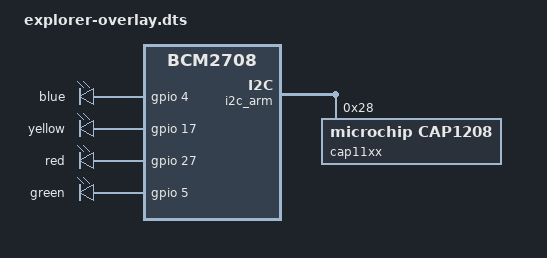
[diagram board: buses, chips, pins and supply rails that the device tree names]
/dts-v1/;
/plugin/;

/ {
	compatible = "brcm,bcm2708";

	fragment@0 {
		target-path = "/";
		__overlay__ {
			explorerleds {
				compatible = "gpio-leds";

				blue {
					label = "blue";
					gpios = <&gpio 4 0>;
					linux,default-trigger = "none";
				};
				yellow {
					label = "yellow";
					gpios = <&gpio 17 0>;
					linux,default-trigger = "none";
				};
				green {
					label = "red";
					gpios = <&gpio 27 0>;
					linux,default-trigger = "none";
				};
				red {
					label = "green";
					gpios = <&gpio 5 0>;
					linux,default-trigger = "none";
				};
			};
		};
	};
	
	fragment@1 {
		target = <&i2c_arm>;
		__overlay__ {
			#address-cells = <1>;
			#size-cells = <0>;
			status = "okay";

			cap11xx: cap1208@28 {
				compatible = "microchip,cap1208";
				reg = <0x28>;
				status = "okay";
				linux,keycodes = <6 7 8 9 2 3 4 5>;
			};
		};
	};

	fragment@2 {
		target = <&gpio>;
		__overlay__ {
			explorerleds_pins: explorerleds_pins {
				brcm,pins = <4 17 27 5>;
				brcm,function = <1 1 1 1>; // out
			};
		};
	};
};
